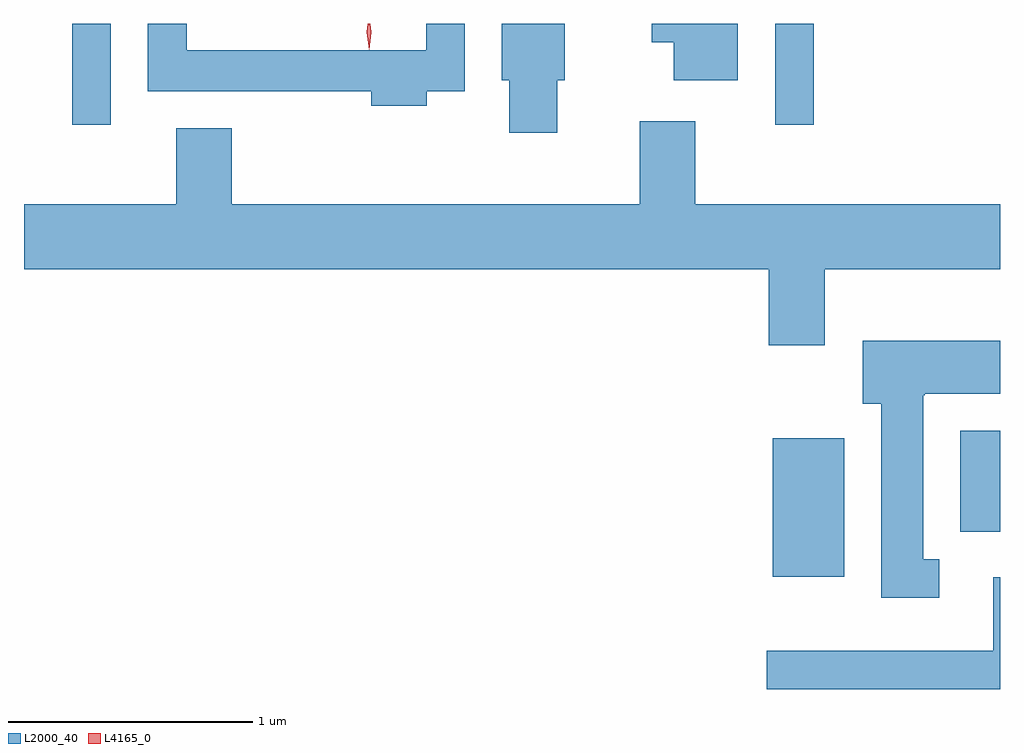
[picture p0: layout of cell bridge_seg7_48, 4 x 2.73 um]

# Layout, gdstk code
import gdstk
lib = gdstk.Library(unit=1e-6, precision=1e-09)
def R(c, l, rs):  # rectangles x0, y0, x1, y1
    for r in rs: c.add(gdstk.rectangle(r[:2], r[2:], *l))
def P(c, l, *ps):  # polygons
    for p in ps: c.add(gdstk.Polygon(p, *l))
L2000_40 = (2000, 40)
L4165_0 = (4165, 0)

bridge_seg7_48 = lib.new_cell('bridge_seg7_48')
R(bridge_seg7_48, L2000_40, [(1566.136,1804.076,1566.429,1804.644), (1566.906,1804.261,1567.068,1804.674), (1563.266,1805.928,1563.424,1806.342), (1566.146,1805.928,1566.304,1806.342)])
P(bridge_seg7_48, L2000_40, [(1565.254,1806.111),(1565.284,1806.111),(1565.284,1806.342),(1565.026,1806.342),(1565.026,1806.111),(1565.056,1806.111),(1565.056,1805.896),(1565.254,1805.896)],
  [(1565.994,1806.342),(1565.641,1806.342),(1565.641,1806.266),(1565.731,1806.266),(1565.731,1806.111),(1565.994,1806.111)],
  [(1564.719,1806.066),(1564.874,1806.066),(1564.874,1806.342),(1564.716,1806.342),(1564.716,1806.234),(1563.734,1806.234),(1563.734,1806.342),(1563.576,1806.342),(1563.576,1806.066),(1564.491,1806.066),(1564.491,1806.006),(1564.719,1806.006)],
  [(1566.349,1805.336),(1567.068,1805.336),(1567.068,1805.604),(1565.819,1805.604),(1565.819,1805.944),(1565.591,1805.944),(1565.591,1805.604),(1563.919,1805.604),(1563.919,1805.914),(1563.691,1805.914),(1563.691,1805.604),(1563.068,1805.604),(1563.068,1805.336),(1566.121,1805.336),(1566.121,1805.026),(1566.349,1805.026)],
  [(1566.818,1804.149),(1566.754,1804.149),(1566.754,1804.82),(1566.76,1804.82),(1566.76,1804.826),(1567.068,1804.826),(1567.068,1805.044),(1566.506,1805.044),(1566.506,1804.786),(1566.581,1804.786),(1566.581,1803.991),(1566.818,1803.991)],
  [(1567.068,1804.074),(1567.041,1804.074),(1567.041,1803.774),(1566.113,1803.774),(1566.113,1803.616),(1567.068,1803.616)])
P(bridge_seg7_48, L4165_0, [(1564.482,1806.237),(1564.472,1806.307),(1564.477,1806.342),(1564.487,1806.342),(1564.492,1806.307),(1564.483,1806.237)])

lib.write_gds('bridge_seg7_48.gds')
